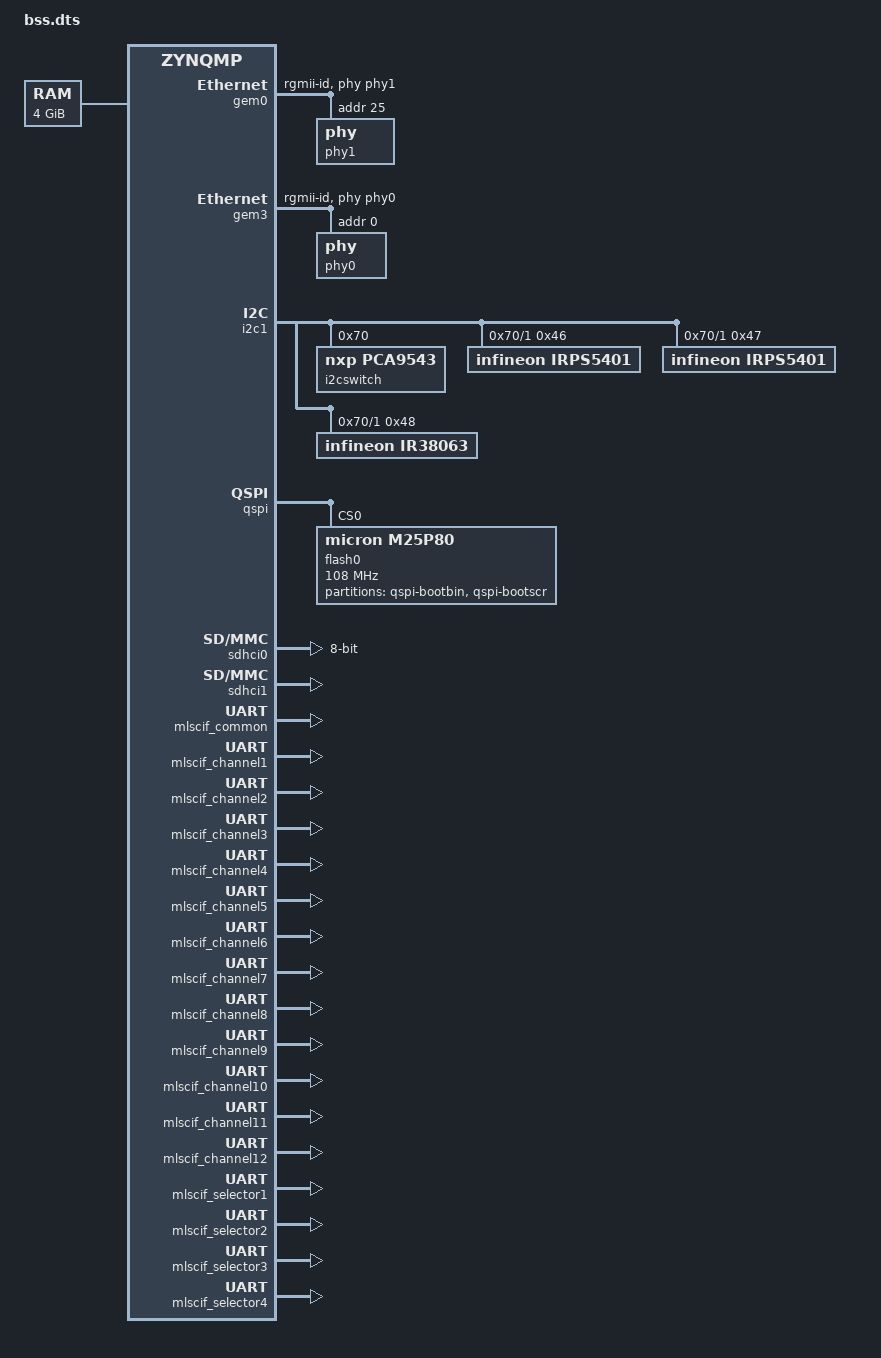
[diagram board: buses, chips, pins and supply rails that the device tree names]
/dts-v1/;
#include "zynqmp.dtsi"
#include "zynqmp-clk-ccf.dtsi"
#include "pl.dtsi"
#include "pcw.dtsi"
#include <dt-bindings/phy/phy.h>
#include <dt-bindings/net/ti-dp83867.h>
#include <dt-bindings/input/input.h>
#include <dt-bindings/gpio/gpio.h>
#include <dt-bindings/pinctrl/pinctrl-zynqmp.h>
#include <dt-bindings/interrupt-controller/irq.h>

/* From include/dt-bindings/clk/versaclock.h */
#define VC5_LVPECL   0
#define VC5_CMOS  1
#define VC5_HCSL33   2
#define VC5_LVDS  3
#define VC5_CMOS2 4
#define VC5_CMOSD 5
#define VC5_HCSL25   6

/* <psgtr_phandle> <lane_number> <controller_type> <instance> <refclk> */
    
/ {
	chosen {
		bootargs = "earlycon console=ttyPS0,115200 clk_ignore_unused root=/dev/mmcblk1p2 rw rootwait";
		stdout-path = "serial0:115200n8";
	};
	aliases {
		ethernet0 = &gem3;
		ethernet1 = &gem0;
		serial0 = &uart0;
		serial1 = &uart1;
	};
	memory {
		device_type = "memory";
		reg = <0x0 0x0 0x0 0x7ff00000>, <0x00000008 0x00000000 0x0 0x80000000>;
	};

   	reserved-memory {
        #address-cells = <2>;
        #size-cells = <2>;
		ranges;
  
	   reserved: buffer@0 {
           no-map;
		   reg = <0x0 0x10000000 0x0 (1024*1024)>;
      		   };
   	};
  	reserved-driver@0 {
      	compatible = "xlnx,reserved-memory";
		memory-region = <&reserved>;
   	};	

    framebuffer0: framebuffer@10000000 {
         compatible = "simple-framebuffer";
         #address-cells = <2>;
         #size-cells = <2>;
	 reg = <0x0 0x10000000 0x0 (160 * 128 * 2)>;
	 width = <160>;
	 height = <128>;
	 stride = < (160 * 2) >;
	 //format = "a8b8g8r8";
	 format = "r5g6b5";
	};
};


&gem0 {
	status = "okay";
	local-mac-address = [00 0a 35 00 02 90];
	phy-mode = "rgmii-id";
	xlnx,ptp-enet-clock = <0x0>;
	phy-handle = <&phy1>;
	phy1: phy@19 {
		reg = <0x19>;
		ti,rx-internal-delay = <DP83867_RGMIIDCTL_2_00_NS>;
		ti,tx-internal-delay = <DP83867_RGMIIDCTL_2_00_NS>;
		ti,fifo-depth = <0x1>;
	};
};

&gem3 {
	phy-mode = "rgmii-id";
	status = "okay";
	xlnx,ptp-enet-clock = <0x0>;
	local-mac-address = [00 0a 35 00 02 91];
	phy-mode = "rgmii-id";
	phy-handle = <&phy0>;
	phy0: phy@0 {
		reg = <0x0>;
		ti,rx-internal-delay = <0x5>;
		ti,tx-internal-delay = <0x5>;
		ti,fifo-depth = <0x1>;
	};
};

&i2c1 {
   i2cswitch@70 { /* U7 on UZ3EG SOM, U8 on UZ7EV SOM */
      compatible = "nxp,pca9543";
      #address-cells = <1>;
      #size-cells = <0>;
      reg = <0x70>;
      i2c@0 { /* i2c mw 70 0 1 */
         #address-cells = <1>;
         #size-cells = <0>;
         reg = <0>;
      };

      i2c@1 {
         #address-cells = <0x1>;
         #size-cells = <0x0>;
         reg = <0x1>;

         irps5401@46 { /* IRPS5401 - U24 on UZ7EV SOM*/
            compatible = "infineon,irps5401";
            reg = <0x46>;
         };

         irps5401@47 { /* IRPS5401 - U25 on UZ7EV SOM*/
            compatible = "infineon,irps5401";
            reg = <0x47>;
         };

         ir38063@48 { /* IR38063 - U26 on UZ7EV SOM*/
            compatible = "infineon,ir38063";
            reg = <0x48>;
         };
      };
   };
};

&qspi {
   #address-cells = <1>;
   #size-cells = <0>;
   status = "okay";
   is-dual = <1>; /* Set for dual-parallel QSPI config */
   num-cs = <2>;
   xlnx,fb-clk = <0x1>;
   flash0: flash@0 {
      /* The Flash described below doesn't match our board ("micron,n25qu256a"), but is needed */
      /* so the Flash MTD partitions are correctly identified in /proc/mtd */
      compatible = "micron,m25p80","jedec,spi-nor"; /* 32MB */
      #address-cells = <1>;
      #size-cells = <1>;
      reg = <0x0>;
      spi-tx-bus-width = <1>;
      spi-rx-bus-width = <4>; /* FIXME also DUAL configuration possible */
      spi-max-frequency = <108000000>; /* Set to 108000000 Based on DC1 spec */
      /* MTD Partitioning:
       *   Boot.bin needs at least 20MB
       *   boot.scr must go at 0x3E80000
       */
      partition@qspi-bootbin {
	      label = "qspi-bootbin";
	      reg = <0x0 0x2000000>;
      };
      partition@qspi-bootscr {
	      label = "qspi-bootscr";
	      reg = <0x3E80000 0x80000>;
      };
   };
};

/* SD0 eMMC, 8-bit wide data bus */
&sdhci0 {
   status = "okay";
   bus-width = <8>;
   max-frequency = <50000000>;
};

/* SD1 with level shifter */
&sdhci1 {
   status = "okay";
   disable-wp;
   max-frequency = <50000000>;
   no-1-8-v;   /* for 1.0 silicon */
};

&amba_pl {
	mlscif_common: mlscif_common@80010000 {
	   compatible = "mlscif_common-1.0";
	   reg = <0x0 0x80010000 0x0 0x10000>;
    };
	mlscif_channel1: mlscif_channel@81010000 {
	   compatible = "mlscif_channel-1.0";
	   reg = <0x0 0x81010000 0x0 0x10000>;
    };
	mlscif_channel2: mlscif_channel@81020000 {
	   compatible = "mlscif_channel-1.0";
	   reg = <0x0 0x81020000 0x0 0x10000>;
    };
	mlscif_channel3: mlscif_channel@81030000 {
	   compatible = "mlscif_channel-1.0";
	   reg = <0x0 0x81030000 0x0 0x10000>;
    };
	mlscif_channel4: mlscif_channel@81040000 {
	   compatible = "mlscif_channel-1.0";
	   reg = <0x0 0x81040000 0x0 0x10000>;
    };
	mlscif_channel5: mlscif_channel@81050000 {
	   compatible = "mlscif_channel-1.0";
	   reg = <0x0 0x81050000 0x0 0x10000>;
    };
	mlscif_channel6: mlscif_channel@81060000 {
	   compatible = "mlscif_channel-1.0";
	   reg = <0x0 0x81060000 0x0 0x10000>;
    };
	mlscif_channel7: mlscif_channel@81070000 {
	   compatible = "mlscif_channel-1.0";
	   reg = <0x0 0x81070000 0x0 0x10000>;
    };
	mlscif_channel8: mlscif_channel@81080000 {
	   compatible = "mlscif_channel-1.0";
	   reg = <0x0 0x81080000 0x0 0x10000>;
    };
	mlscif_channel9: mlscif_channel@81090000 {
	   compatible = "mlscif_channel-1.0";
	   reg = <0x0 0x81090000 0x0 0x10000>;
    };
	mlscif_channel10: mlscif_channel@810a0000 {
	   compatible = "mlscif_channel-1.0";
	   reg = <0x0 0x810a0000 0x0 0x10000>;
    };
	mlscif_channel11: mlscif_channel@810b0000 {
	   compatible = "mlscif_channel-1.0";
	   reg = <0x0 0x810b0000 0x0 0x10000>;
    };
	mlscif_channel12: mlscif_channel@810c0000 {
	   compatible = "mlscif_channel-1.0";
	   reg = <0x0 0x810c0000 0x0 0x10000>;
    };
	mlscif_selector1: mlscif_selector@80200000 {
	   compatible = "mlscif_selector-1.0";
	   reg = <0x0 0x80200000 0x0 0x10000>;
    };
	mlscif_selector2: mlscif_selector@80210000 {
	   compatible = "mlscif_selector-1.0";
	   reg = <0x0 0x80210000 0x0 0x10000>;
    };
	mlscif_selector3: mlscif_selector@80220000 {
	   compatible = "mlscif_selector-1.0";
	   reg = <0x0 0x80220000 0x0 0x10000>;
    };
	mlscif_selector4: mlscif_selector@80230000 {
	   compatible = "mlscif_selector-1.0";
	   reg = <0x0 0x80230000 0x0 0x10000>;
    };
};
